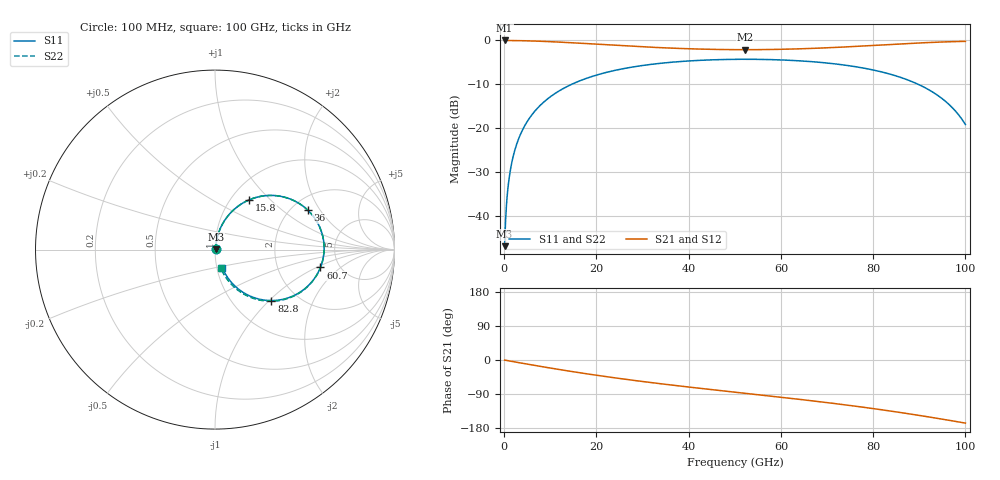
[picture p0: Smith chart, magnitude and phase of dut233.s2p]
! Touchstone file exported from HFSS 2026.1.0
!  File:  C:/ffzhzh/LocalFiles/Ansys_Project_Files/temp_train_RDL_233_1783501221_31944.aedt
!  Generated:  05:01:36 PM Jul  8, 2026
!  Design:  RDL
!  Project:  temp_train_RDL_233_1783501221_31944
! Variables:
!  h_bsmrdl = 2um
!  h_ox = 20um
!  h_rdl = 5um
!  h_sub = 80um
!  h_tmrdl = 3.21um
!  h_tsv = 80um
!  h_via = 3um
!  l_bsmrdl = 300um
!  l_sub = 960.45um
!  l_tmrdl = 560.45um
!  m_sub = 200um
!  pitch = 46.17um
!  r_tsv = 6um
!  s_tmrdl = 10um
!  w_bsmrdl = 18um
!  w_sub = 500um
!  w_tmrdl = 17.42um
!  x_tsv_center1 = 569.16um
!  x_tsv_center2 = 887.16um
!  x_tsv_center3 = 1465.03um
!  x_tsv_center4 = 1783.03um
!  x_tsv_center5 = 2360.9um
!  x_tsv_center6 = 2678.9um
# GHz S MA R 50.000000
! Terminal data exported
! Port[1] = TM_RDL1_1_T1
! Port[2] = TM_RDL1_1_T2
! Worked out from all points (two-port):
!   1000 points, 100 MHz to 100 GHz, reference 50 ohm
!   highest |S21| = -0.03 dB at 100 MHz (marker M1); lowest = -2.1 dB at 52.2 GHz (marker M2)
!   |S21| within 3 dB of the highest: start of sweep to end of sweep
!   lowest |S11| = -46.9 dB at 100 MHz (marker M3), VSWR 1.01, Z = 50.4 + j0.261 ohm
!   |S11| at or under -10 dB: start of sweep to 14.68 GHz; 89.71 GHz to end of sweep
!   |S22| runs from -46.9 to -4.3 dB; largest |S21 - S12| = 1.6e-14
!   S11 on the Smith chart (normalised r, x): 100 MHz: 1.01, +0.01; 15.8 GHz: 1.21, +0.75; 36 GHz: 2.41, +1.56; 60.7 GHz: 3.58, -1.11; 82.8 GHz: 1.49, -1.03; 100 GHz: 1.06, -0.22
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0.1  0.004516 35.1  0.9963 -0.2  0.9963 -0.2  0.004516 35.1
! Gamma 0 0 0 0
! Port Impedance 50 0 50 0
0.9  0.02257 76.7  0.9953 -2.0  0.9953 -2.0  0.02257 76.7
1.5  0.03674 79.4  0.9946 -3.3  0.9946 -3.3  0.03674 79.4
2.5  0.06043 79.7  0.9931 -5.5  0.9931 -5.5  0.06043 79.7
3.9  0.09332 78.0  0.99 -8.5  0.99 -8.5  0.09332 78.0
5.9  0.1391 74.5  0.9836 -12.8  0.9836 -12.8  0.1391 74.5
8.5  0.196 69.5  0.9726 -18.2  0.9726 -18.2  0.196 69.4
15.8  0.3355 55.6  0.9311 -32.6  0.9311 -32.6  0.3355 55.6
16.8  0.3522 53.8  0.9248 -34.4  0.9248 -34.4  0.3522 53.8
24.5  0.4601 40.6  0.8757 -47.9  0.8757 -47.9  0.4601 40.6
33.4  0.5438 27.0  0.827 -61.9  0.827 -61.9  0.5438 26.9
36  0.5609 23.2  0.8156 -65.7  0.8156 -65.7  0.561 23.2
50.1  0.6073 4.3  0.7827 -85.0  0.7827 -85.0  0.6074 4.1
52.2  0.6081 1.5  0.7822 -87.8  0.7822 -87.8  0.6082 1.4
60.7  0.5958 -9.6  0.7913 -99.2  0.7913 -99.2  0.5958 -9.8
66.7  0.5711 -17.8  0.8086 -107.6  0.8086 -107.6  0.5712 -18.0
82.8  0.4237 -42.1  0.8905 -133.0  0.8905 -133.0  0.4236 -42.8
83.4  0.4155 -43.1  0.8941 -134.0  0.8941 -134.0  0.4154 -43.8
88.9  0.3303 -52.4  0.9267 -144.1  0.9267 -144.1  0.3302 -53.5
93.4  0.2477 -60.0  0.9503 -152.9  0.9503 -152.9  0.2474 -61.7
96.9  0.1765 -65.3  0.9646 -160.1  0.9646 -160.1  0.1759 -68.0
100  0.1098 -68.0  0.9733 -166.5  0.9733 -166.5  0.1087 -72.7
